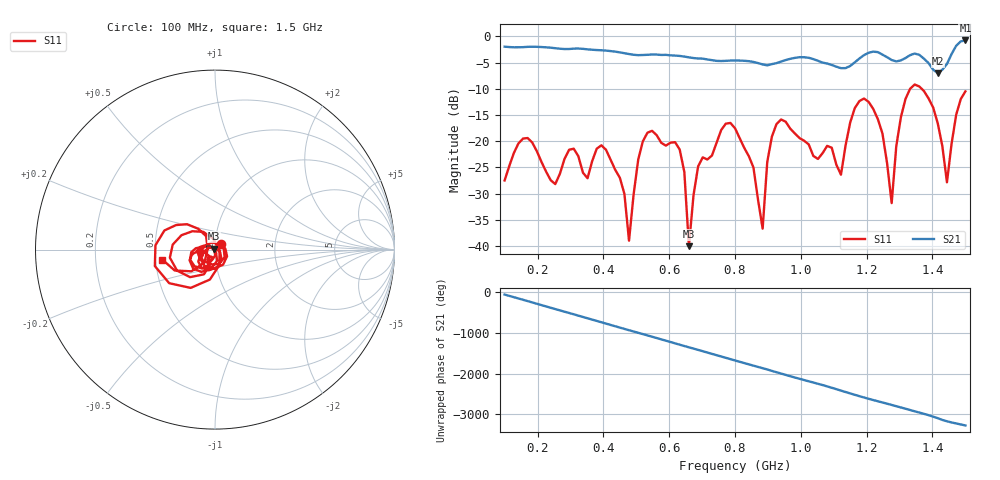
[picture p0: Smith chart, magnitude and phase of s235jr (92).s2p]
! NanoVNA-App
! Date: 2025-09-25 15:04:53
! Start: 100MHz Stop: 1,5GHz Points: 101
! S-Parameter data: F S11 S21 S12 S22
# Hz S RI R 50
!  Frequency  S11_Real  S11_Imag  S21_Real  S21_Imag  S12_Real  S12_Imag  S22_Real  S22_Imag
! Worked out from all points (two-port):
!   101 points, 100 MHz to 1.5 GHz, reference 50 ohm
!   highest |S21| = -0.78 dB at 1.5 GHz (marker M1); lowest = -7.0 dB at 1.416 GHz (marker M2)
!   |S21| within 3 dB of the highest: start of sweep to 637.7 MHz; 1.188 GHz to 1.257 GHz (68.95 MHz wide, 5.64 % of centre) (the widest 2 of 4)
!   lowest |S11| = -40.0 dB at 660 MHz (marker M3), VSWR 1.02, Z = 49.2 + j0.593 ohm
!   |S11| at or under -10 dB: start of sweep to 1.332 GHz; 1.367 GHz to end of sweep
!   S12 and S22 are empty: the file has one direction only
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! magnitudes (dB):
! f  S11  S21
! 100 MHz  -27.5  -2.0
! 170 MHz  -19.4  -2.0
! 338 MHz  -26.0  -2.4
! 408 MHz  -21.6  -2.7
! 478 MHz  -39.0  -3.4
! 520 MHz  -20.0  -3.6
! 576 MHz  -20.3  -3.5
! 632 MHz  -21.6  -3.7
! 660 MHz  -40.0  -4.0
! 688 MHz  -24.8  -4.2
! 800 MHz  -17.5  -4.6
! 884 MHz  -36.7  -5.4
! 926 MHz  -16.7  -5.1
! 1.038 GHz  -22.8  -4.3
! 1.122 GHz  -26.4  -6.1
! 1.192 GHz  -11.9  -3.6
! 1.248 GHz  -18.5  -3.5
! 1.276 GHz  -31.8  -4.5
! 1.332 GHz  -10.0  -3.6
! 1.416 GHz  -16.6  -7.0
! 1.444 GHz  -27.8  -5.3
! 1.5 GHz  -10.5  -0.8
